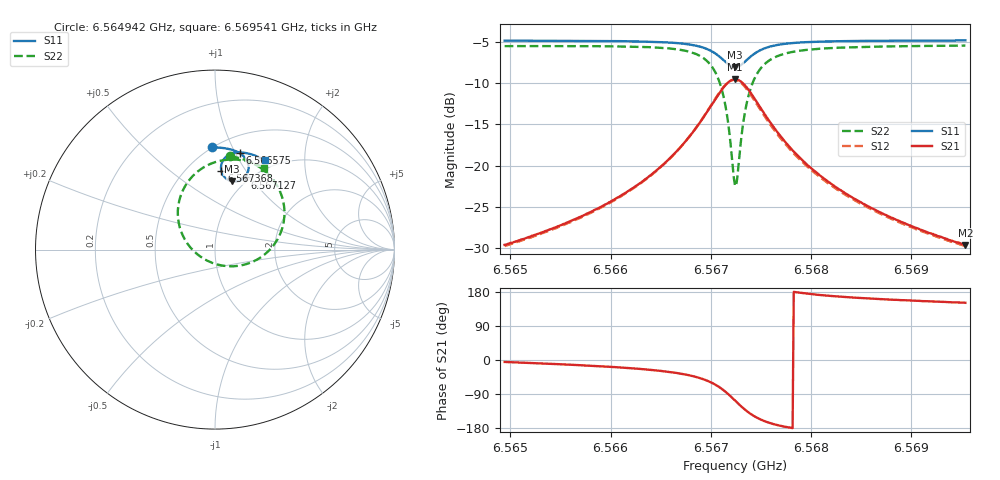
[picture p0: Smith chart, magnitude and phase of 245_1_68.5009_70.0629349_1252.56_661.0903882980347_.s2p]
#  HZ  S  RI  R  50.00
! Rohde & Schwarz Vector Network Analyzer
! Rohde-Schwarz,ZNB20-2Port,1311601062101988,3.16
! Created: UTC 3/20/2024, 5:14:43 PM
! freq[Hz]  re:S11  im:S11  re:S21  im:S21  re:S12  im:S12  re:S22  im:S22
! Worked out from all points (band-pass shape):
!   401 points, 6.564942 GHz to 6.569541 GHz, reference 50 ohm
!   highest |S21| = -9.57 dB at 6.567242 GHz (marker M1); lowest = -29.6 dB at 6.569541 GHz (marker M2)
!   |S21| within 3 dB of the highest: 6.567013 GHz to 6.567473 GHz (459.3 kHz wide, 0.00699 % of centre)
!   lowest |S11| = -8.1 dB at 6.567242 GHz (marker M3), VSWR 2.29, Z = 43.7 + j39.3 ohm
!   |S11| at or under -10 dB: nowhere
!   |S22| runs from -22.5 to -5.5 dB; largest |S21 - S12| = 0.017
!   S11 on the Smith chart (normalised r, x): 6.564942 GHz: 0.50, +0.84; 6.566575 GHz: 0.67, +1.04; 6.567127 GHz: 0.94, +0.93; 6.567368 GHz: 0.72, +0.78; 6.569541 GHz: 0.87, +1.29
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6.5649421e9  -0.0172 0.5689  0.033 -0.00296  0.0323 -0.00341  0.0863 0.5201
6.5657124e9  0.0483 0.5655  0.048 -0.0118  0.0472 -0.0125  0.1666 0.5002
6.5661264e9  0.0876 0.558  0.0629 -0.0232  0.062 -0.024  0.2221 0.4752
6.5664828e9  0.1264 0.5438  0.0848 -0.0455  0.0836 -0.0465  0.2865 0.4295
6.5665748e9  0.1375 0.5376  0.0926 -0.0558  0.0912 -0.057  0.3072 0.409
6.5667933e9  0.1667 0.5122  0.1145 -0.099  0.1127 -0.1011  0.3622 0.3248
6.5669543e9  0.1853 0.4739  0.1229 -0.1664  0.1196 -0.1704  0.3868 0.1944
6.5670577e9  0.1833 0.4331  0.1013 -0.2381  0.0944 -0.2431  0.3488 0.0582
6.5671267e9  0.1644 0.4018  0.054 -0.2916  0.0425 -0.2952  0.2591 -0.0403
6.5671727e9  0.1404 0.3853  0.00177 -0.3176  -0.0127 -0.3181  0.1611 -0.0846
6.5672187e9  0.1091 0.3789  -0.0629 -0.3242  -0.0788 -0.3195  0.0427 -0.0894
6.5672417e9  0.0925 0.3808  -0.0964 -0.3178  -0.1115 -0.3103  -0.0165 -0.0735
6.5672647e9  0.0767 0.3865  -0.1277 -0.3049  -0.1418 -0.2948  -0.0708 -0.0461
6.5673222e9  0.0468 0.4124  -0.188 -0.2515  -0.1964 -0.2372  -0.1685 0.0574
6.5673682e9  0.0354 0.4384  -0.2121 -0.2002  -0.216 -0.1856  -0.2025 0.1509
6.5674602e9  0.0384 0.484  -0.2135 -0.1128  -0.2115 -0.1015  -0.1899 0.3033
6.5675982e9  0.0664 0.5212  -0.1759 -0.0409  -0.1719 -0.0347  -0.1097 0.4237
6.5677591e9  0.0988 0.5374  -0.1349 -0.00692  -0.1316 -0.00371  -0.0258 0.4776
6.5680121e9  0.138 0.5421  -0.0946 0.0106  -0.0921 0.0121  0.0625 0.5002
6.5683801e9  0.18 0.5367  -0.0638 0.0165  -0.0622 0.0171  0.1407 0.4991
6.5687825e9  0.217 0.5257  -0.046 0.0171  -0.045 0.0175  0.1971 0.487
6.5695414e9  0.2761 0.4994  -0.0289 0.016  -0.0283 0.0161  0.2723 0.4562
